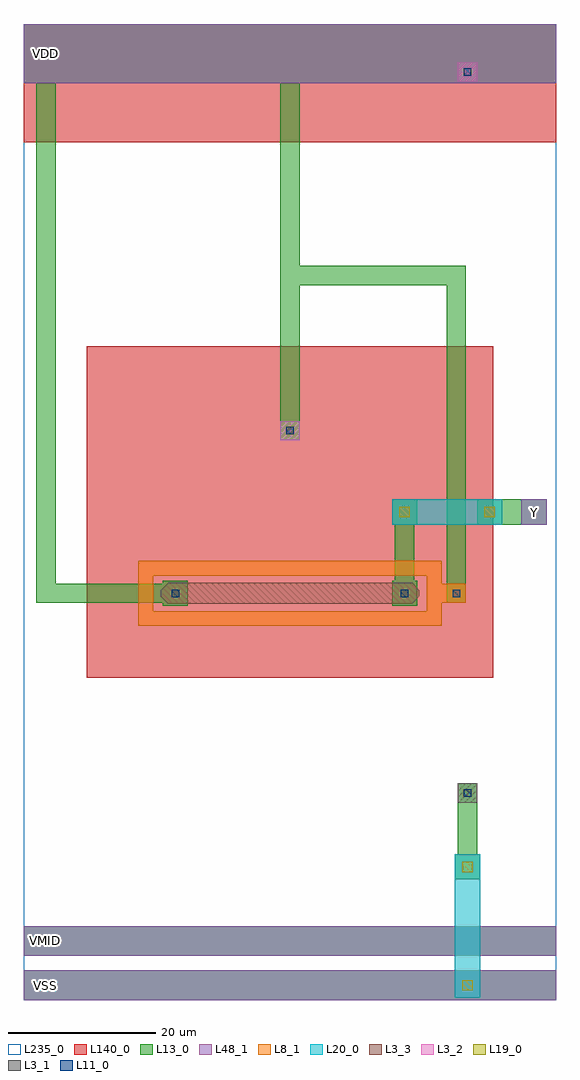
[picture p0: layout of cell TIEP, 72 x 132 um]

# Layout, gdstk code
import gdstk
lib = gdstk.Library(unit=1e-6, precision=1e-09)
def R(c, l, rs):  # rectangles x0, y0, x1, y1
    for r in rs: c.add(gdstk.rectangle(r[:2], r[2:], *l))
def P(c, l, *ps):  # polygons
    for p in ps: c.add(gdstk.Polygon(p, *l))
L3_1 = (3, 1)
L3_2 = (3, 2)
L3_3 = (3, 3)
L8_1 = (8, 1)
L11_0 = (11, 0)
L13_0 = (13, 0)
L19_0 = (19, 0)
L20_0 = (20, 0)
L48_1 = (48, 1)
L140_0 = (140, 0)
L235_0 = (235, 0)

res_diff__tiep = lib.new_cell('res_diff__TIEP')
P(res_diff__tiep, L3_3, [(-16.5,-1.4),(-17.5,-0.4),(-17.5,0.4),(-16.5,1.4),(16.5,1.4),(17.5,0.4),(17.5,-0.4),(16.5,-1.4)])
P(res_diff__tiep, L8_1, [(-20.5,-4.4),(-20.5,2.4),(-18.5,2.4),(-18.5,-2.4),(18.5,-2.4),(18.5,2.4),(-20.5,2.4),(-20.5,4.4),(20.5,4.4),(20.5,-4.4)])
R(res_diff__tiep, L11_0, [(-16,-0.5,-15,0.5), (15,-0.5,16,0.5)])
R(res_diff__tiep, L13_0, [(-17.2,-1.7,-13.8,1.7), (13.8,-1.7,17.2,1.7)])

cont_n__tiep = lib.new_cell('cont_n__TIEP')
R(cont_n__tiep, L3_2, [(-1.3,-1.3,1.3,1.3)])
R(cont_n__tiep, L11_0, [(-0.5,-0.5,0.5,0.5)])
R(cont_n__tiep, L13_0, [(-1.3,-1.3,1.3,1.3)])

cont_g__tiep = lib.new_cell('cont_g__TIEP')
R(cont_g__tiep, L8_1, [(-1.3,-1.3,1.3,1.3)])
R(cont_g__tiep, L11_0, [(-0.5,-0.5,0.5,0.5)])
R(cont_g__tiep, L13_0, [(-1.3,-1.3,1.3,1.3)])

via_1__tiep = lib.new_cell('via_1__TIEP')
R(via_1__tiep, L13_0, [(-1.7,-1.7,1.7,1.7)])
R(via_1__tiep, L19_0, [(-0.7,-0.7,0.7,0.7)])
R(via_1__tiep, L20_0, [(-1.7,-1.7,1.7,1.7)])

cont_p__tiep = lib.new_cell('cont_p__TIEP')
R(cont_p__tiep, L3_1, [(-1.3,-1.3,1.3,1.3)])
R(cont_p__tiep, L11_0, [(-0.5,-0.5,0.5,0.5)])
R(cont_p__tiep, L13_0, [(-1.3,-1.3,1.3,1.3)])

tiep = lib.new_cell('TIEP')
R(tiep, L8_1, [(55.2,53.7,59.8,56.3)])
R(tiep, L13_0, [(0,0,72,4), (0,6,72,10), (58.7,16.7,61.3,29.3), (1.7,53.7,21.8,56.3), (1.7,53.7,4.3,129.3), (50.2,53.7,52.8,67.3), (57.2,53.7,59.8,99.3), (61.3,64.3,70.7,67.7), (67.3,64.3,70.7,67.7), (34.7,75.7,37.3,99.3), (34.7,96.7,59.8,99.3), (34.7,96.7,37.3,129.3), (0,124,72,132), (58.7,124.2,61.3,129.3)])
R(tiep, L20_0, [(58.3,0.3,61.7,19.7), (49.8,64.3,64.7,67.7)])
R(tiep, L48_1, [(0,0,72,4), (0,6,72,10), (67.3,64.3,70.7,67.7), (0,124,72,132)])
R(tiep, L140_0, [(8.5,43.6,63.5,88.4), (0,116,72,132)])
R(tiep, L235_0, [(0,0,72,132)])
tiep.add(gdstk.Reference(res_diff__tiep, (36,55)))
tiep.add(gdstk.Reference(cont_n__tiep, (36,77)))
tiep.add(gdstk.Reference(cont_g__tiep, (58.5,55)))
tiep.add(gdstk.Reference(via_1__tiep, (51.5,66)))
tiep.add(gdstk.Reference(via_1__tiep, (63,66)))
tiep.add(gdstk.Reference(cont_n__tiep, (60,125.5)))
tiep.add(gdstk.Reference(cont_p__tiep, (60,28)))
tiep.add(gdstk.Reference(via_1__tiep, (60,18)))
tiep.add(gdstk.Reference(via_1__tiep, (60,2)))
tiep.add(gdstk.Label('Y', (69,66), layer=48, texttype=0))
tiep.add(gdstk.Label('VDD', (3,128), layer=48, texttype=0))
tiep.add(gdstk.Label('VMID', (3,8), layer=48, texttype=0))
tiep.add(gdstk.Label('VSS', (3,2), layer=48, texttype=0))

lib.write_gds('TIEP.gds')
